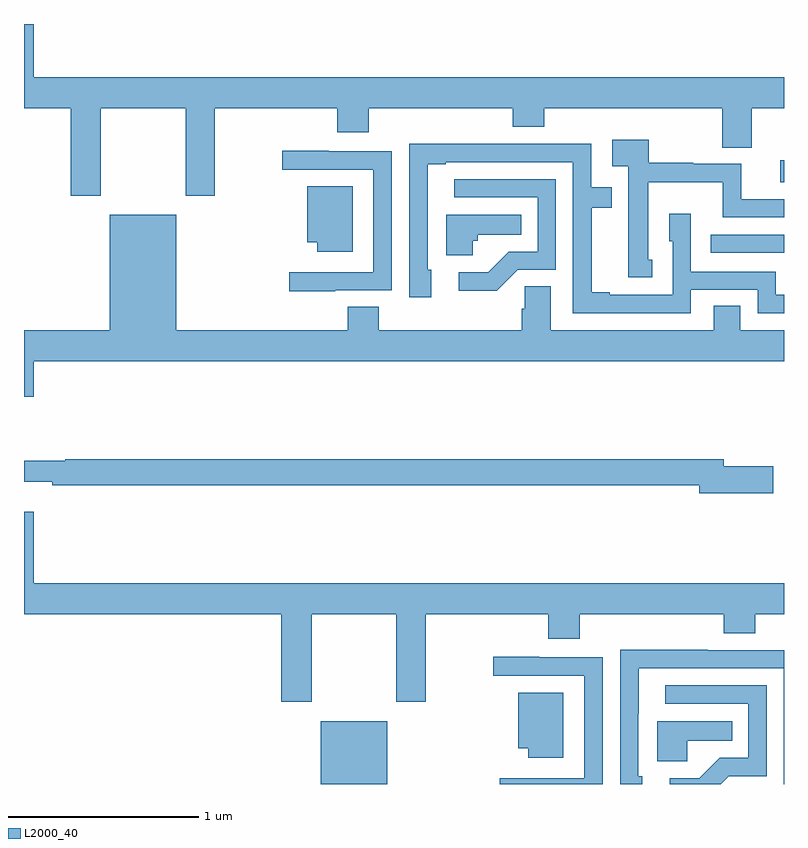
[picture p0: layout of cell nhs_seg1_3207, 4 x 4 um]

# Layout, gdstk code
import gdstk
lib = gdstk.Library(unit=1e-6, precision=1e-09)
def R(c, l, rs):  # rectangles x0, y0, x1, y1
    for r in rs: c.add(gdstk.rectangle(r[:2], r[2:], *l))
def P(c, l, *ps):  # polygons
    for p in ps: c.add(gdstk.Polygon(p, *l))
L2000_40 = (2000, 40)

nhs_seg1_3207 = lib.new_cell('nhs_seg1_3207')
R(nhs_seg1_3207, L2000_40, [(286.562,524.199,286.912,524.53), (288.615,526.995,289,527.091), (288.981,527.367,289,527.482)])
P(nhs_seg1_3207, L2000_40, [(285.405,527.756),(285.85,527.756),(285.85,527.295),(286.005,527.295),(286.005,527.756),(286.649,527.756),(286.649,527.628),(286.814,527.628),(286.814,527.756),(287.573,527.756),(287.573,527.657),(287.738,527.657),(287.738,527.756),(288.676,527.756),(288.676,527.548),(288.831,527.548),(288.831,527.756),(289,527.756),(289,527.92),(285.052,527.92),(285.052,528.199),(285,528.199),(285,527.756),(285.245,527.756),(285.245,527.295),(285.405,527.295)],
  [(288.307,526.959),(288.286,526.959),(288.286,527.366),(288.677,527.366),(288.677,527.181),(289,527.181),(289,527.277),(288.776,527.277),(288.776,527.463),(288.522,527.463),(288.522,527.468),(288.289,527.468),(288.289,527.59),(288.096,527.59),(288.096,527.45),(288.18,527.45),(288.18,527.354),(288.179,527.354),(288.179,526.866),(288.307,526.866)],
  [(288.51,526.8),(288.861,526.8),(288.861,526.677),(289,526.677),(289,526.773),(288.957,526.773),(288.957,526.896),(288.51,526.896),(288.51,527.2),(288.395,527.2),(288.395,527.055),(288.414,527.055),(288.414,526.773),(288.082,526.773),(288.082,526.786),(287.987,526.786),(287.987,527.232),(288.094,527.232),(288.094,527.34),(287.985,527.34),(287.985,527.568),(287.489,527.568),(287.489,527.57),(287.028,527.57),(287.028,526.761),(287.143,526.761),(287.143,526.905),(287.124,526.905),(287.124,527.46),(287.221,527.46),(287.221,527.472),(287.889,527.472),(287.889,526.677),(288.51,526.677)],
  [(286.639,526.797),(286.935,526.797),(286.935,527.529),(286.603,527.529),(286.603,527.533),(286.359,527.533),(286.359,527.433),(286.839,527.433),(286.839,526.893),(286.395,526.893),(286.395,526.793),(286.639,526.793)],
  [(287.598,526.905),(287.799,526.905),(287.799,527.382),(287.265,527.382),(287.265,527.286),(287.703,527.286),(287.703,527.001),(287.552,527.001),(287.444,526.893),(287.289,526.893),(287.289,526.796),(287.488,526.796)],
  [(286.729,527.344),(286.49,527.344),(286.49,527.051),(286.544,527.051),(286.544,527),(286.729,527)],
  [(287.362,527.058),(287.388,527.058),(287.388,527.09),(287.618,527.09),(287.618,527.194),(287.222,527.194),(287.222,526.982),(287.362,526.982)],
  [(285.052,526.424),(289,526.424),(289,526.588),(288.769,526.588),(288.769,526.715),(288.629,526.715),(288.629,526.588),(287.773,526.588),(287.773,526.82),(287.635,526.82),(287.635,526.7),(287.621,526.7),(287.621,526.588),(286.868,526.588),(286.868,526.712),(286.703,526.712),(286.703,526.588),(285.802,526.588),(285.802,527.194),(285.452,527.194),(285.452,526.588),(285,526.588),(285,526.236),(285.052,526.236)],
  [(288.943,525.872),(288.682,525.872),(288.682,525.908),(285.218,525.908),(285.218,525.901),(285,525.901),(285,525.791),(285.148,525.791),(285.148,525.772),(288.554,525.772),(288.554,525.73),(288.943,525.73)],
  [(286.515,525.092),(286.96,525.092),(286.96,524.631),(287.115,524.631),(287.115,525.092),(287.759,525.092),(287.759,524.964),(287.924,524.964),(287.924,525.092),(288.683,525.092),(288.683,524.993),(288.848,524.993),(288.848,525.092),(289,525.092),(289,525.256),(285.052,525.256),(285.052,525.631),(285,525.631),(285,525.092),(286.355,525.092),(286.355,524.631),(286.515,524.631)],
  [(288.253,524.241),(288.234,524.241),(288.234,524.569),(288.235,524.569),(288.235,524.808),(288.999,524.808),(288.999,524.199),(289,524.199),(289,524.904),(288.599,524.904),(288.599,524.906),(288.138,524.906),(288.138,524.199),(288.253,524.199)],
  [(288.045,524.865),(287.713,524.865),(287.713,524.869),(287.469,524.869),(287.469,524.769),(287.949,524.769),(287.949,524.229),(287.505,524.229),(287.505,524.199),(288.045,524.199)],
  [(288.708,524.241),(288.909,524.241),(288.909,524.718),(288.375,524.718),(288.375,524.622),(288.813,524.622),(288.813,524.337),(288.662,524.337),(288.554,524.229),(288.399,524.229),(288.399,524.199),(288.666,524.199)],
  [(287.839,524.68),(287.6,524.68),(287.6,524.387),(287.654,524.387),(287.654,524.336),(287.839,524.336)],
  [(288.49,524.426),(288.728,524.426),(288.728,524.53),(288.332,524.53),(288.332,524.318),(288.49,524.318)])

lib.write_gds('nhs_seg1_3207.gds')
